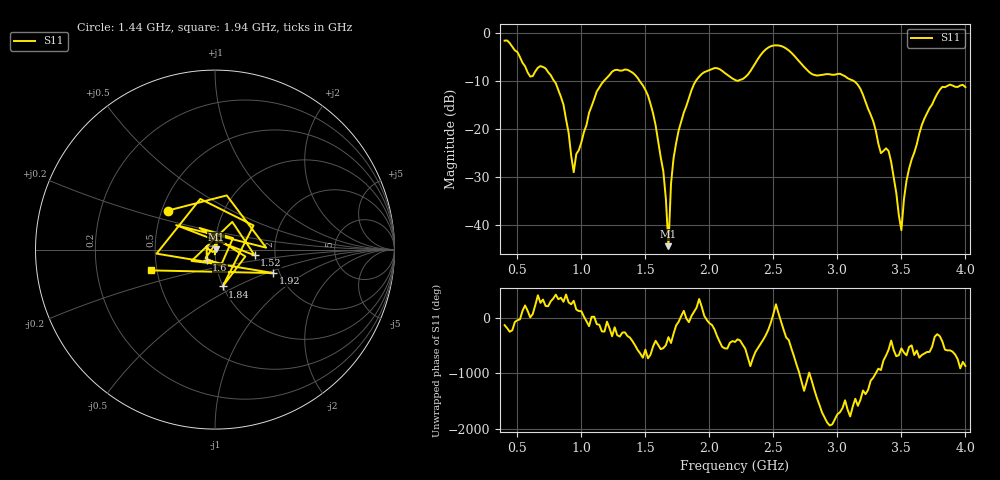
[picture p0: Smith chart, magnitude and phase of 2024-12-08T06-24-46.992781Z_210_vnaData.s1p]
!Created with skrf (http://scikit-rf.org).
# Hz S RI R 50.0
!freq ReS11 ImS11
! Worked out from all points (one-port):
!   181 points, 400 MHz to 4 GHz, reference 50 ohm
!   lowest |S11| = -44.5 dB at 1.68 GHz (marker M1), VSWR 1.01, Z = 50.6 + j0.13 ohm
!   |S11| at or under -10 dB: 787.3 MHz to 1.175 GHz (388.2 MHz wide, 39.6 % of centre); 1.455 GHz to 1.894 GHz (438.9 MHz wide, 26.2 % of centre); 3.127 GHz to end of sweep
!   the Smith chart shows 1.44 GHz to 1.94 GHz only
!   S11 on the Smith chart (normalised r, x): 1.44 GHz: 0.54, +0.27; 1.52 GHz: 1.56, -0.10; 1.6 GHz: 0.91, -0.10; 1.84 GHz: 1.00, -0.43; 1.92 GHz: 1.86, -0.55; 1.94 GHz: 0.46, -0.13
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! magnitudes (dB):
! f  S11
! 400 MHz  -1.6
! 600 MHz  -9.1
! 720 MHz  -7.4
! 860 MHz  -15.0
! 940 MHz  -29.1
! 1.12 GHz  -12.2
! 1.3 GHz  -7.8
! 1.44 GHz  -9.4
! 1.52 GHz  -13.0
! 1.6 GHz  -22.7
! 1.64 GHz  -28.9
! 1.68 GHz  -44.5
! 1.7 GHz  -31.5
! 1.76 GHz  -20.3
! 1.84 GHz  -13.6
! 1.92 GHz  -9.1
! 1.94 GHz  -8.5
! 2.2 GHz  -9.8
! 2.48 GHz  -2.7
! 2.66 GHz  -4.6
! 3.1 GHz  -9.7
! 3.2 GHz  -12.9
! 3.34 GHz  -25.1
! 3.4 GHz  -24.6
! 3.5 GHz  -41.2
! 3.56 GHz  -28.3
! 3.8 GHz  -11.8
! 4 GHz  -11.3
